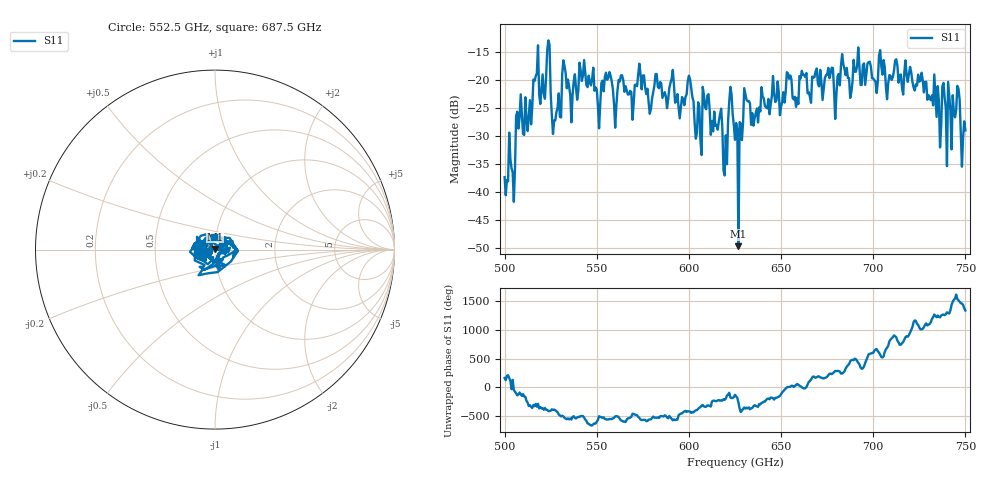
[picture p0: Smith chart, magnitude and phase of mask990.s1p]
!Created with skrf (http://scikit-rf.org).
# GHz S MA R 50.0
!freq magS11 angS11
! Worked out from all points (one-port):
!   401 points, 500 GHz to 750 GHz, reference 50 ohm
!   lowest |S11| = -49.6 dB at 626.9 GHz (marker M1), VSWR 1.01, Z = 50 + j0.33 ohm
!   |S11| at or under -10 dB: start of sweep to end of sweep
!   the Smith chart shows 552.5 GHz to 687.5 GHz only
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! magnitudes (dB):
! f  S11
! 500 GHz  -37.3
! 504.4 GHz  -36.4
! 507.5 GHz  -28.7
! 513.8 GHz  -23.6
! 516.9 GHz  -19.4
! 520.6 GHz  -19.0
! 523.8 GHz  -13.0
! 526.9 GHz  -27.2
! 531.2 GHz  -19.0
! 541.9 GHz  -20.2
! 550.6 GHz  -24.6
! 556.2 GHz  -19.6
! 560 GHz  -28.5
! 562.5 GHz  -20.3
! 593.8 GHz  -22.5
! 600.6 GHz  -19.9
! 605.6 GHz  -24.7
! 608.8 GHz  -24.9
! 619.4 GHz  -37.0
! 622.5 GHz  -21.2
! 625 GHz  -30.7
! 626.9 GHz  -49.6
! 631.2 GHz  -23.5
! 635 GHz  -28.1
! 656.2 GHz  -23.2
! 687.5 GHz  -23.2
! 718.8 GHz  -20.3
! 750 GHz  -29.0
